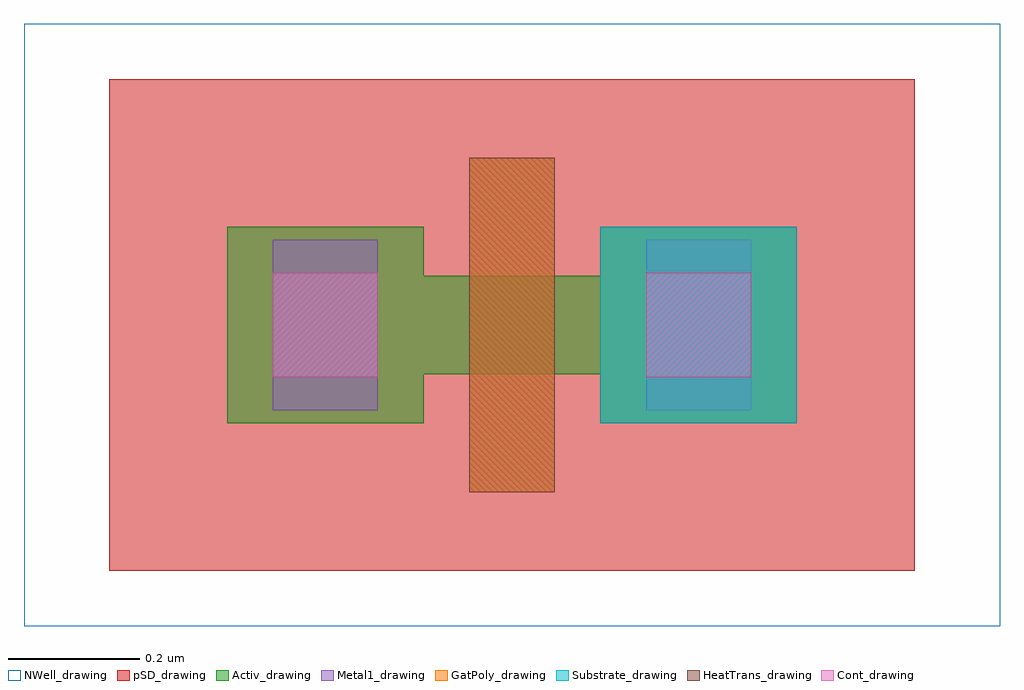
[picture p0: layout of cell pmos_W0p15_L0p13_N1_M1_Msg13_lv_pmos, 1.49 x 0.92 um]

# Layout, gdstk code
import gdstk
lib = gdstk.Library(unit=1e-6, precision=1e-09)
def R(c, l, rs):  # rectangles x0, y0, x1, y1
    for r in rs: c.add(gdstk.rectangle(r[:2], r[2:], *l))
Activ_drawing = (1, 0)
GatPoly_drawing = (5, 0)
Cont_drawing = (6, 0)
Metal1_drawing = (8, 0)
pSD_drawing = (14, 0)
NWell_drawing = (31, 0)
Substrate_drawing = (40, 0)
HeatTrans_drawing = (51, 0)

pmos_w0p15_l0p13_n1_m1_m = lib.new_cell('pmos_W0p15_L0p13_N1_M1_Msg13_lv_pmos')
R(pmos_w0p15_l0p13_n1_m1_m, Activ_drawing, [(0,0,0.3,0.3), (0.57,0,0.87,0.3), (0,0.075,0.87,0.225)])
R(pmos_w0p15_l0p13_n1_m1_m, GatPoly_drawing, [(0.37,-0.105,0.5,0.405), (0.37,-0.105,0.5,0.405)])
R(pmos_w0p15_l0p13_n1_m1_m, Cont_drawing, [(0.07,0.07,0.23,0.23), (0.64,0.07,0.8,0.23)])
R(pmos_w0p15_l0p13_n1_m1_m, Metal1_drawing, [(0.07,0.02,0.23,0.28), (0.07,0.02,0.23,0.28), (0.64,0.02,0.8,0.28), (0.64,0.02,0.8,0.28)])
R(pmos_w0p15_l0p13_n1_m1_m, pSD_drawing, [(-0.18,-0.225,1.05,0.525)])
R(pmos_w0p15_l0p13_n1_m1_m, NWell_drawing, [(-0.31,-0.31,1.18,0.61)])
R(pmos_w0p15_l0p13_n1_m1_m, Substrate_drawing, [(0.57,0,0.87,0.3)])
R(pmos_w0p15_l0p13_n1_m1_m, HeatTrans_drawing, [(0.37,-0.105,0.5,0.405)])

lib.write_gds('pmos_W0p15_L0p13_N1_M1_Msg13_lv_pmos.gds')
